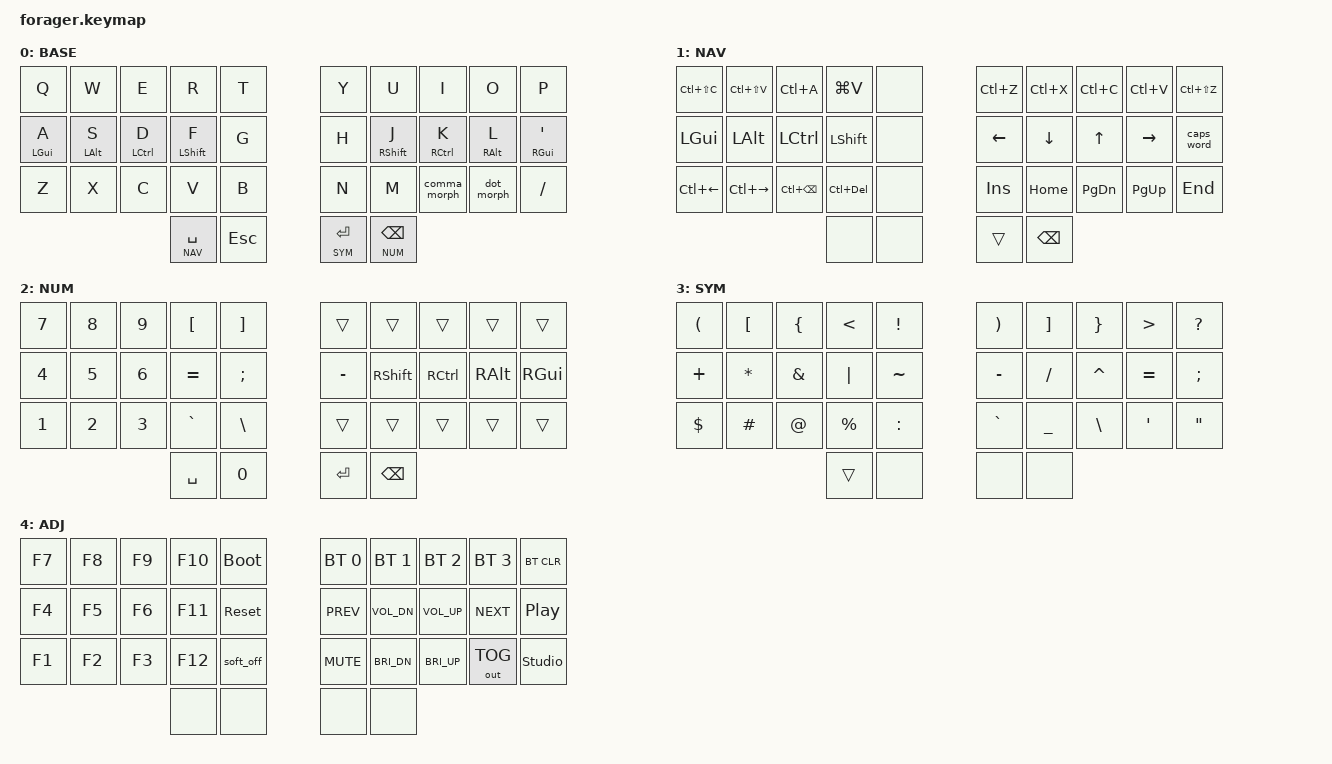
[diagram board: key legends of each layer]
/*
 * Copyright (c) 2020 The ZMK Contributors
 *
 * SPDX-License-Identifier: MIT
 */

//
//   Miryoku-style layout — QWERTY base, vim arrows (HJKL), GACS home row mods.
//   Adapted from the Corne (42-key) config to the Forager (34-key).
//   urob-inspired: timeless positional HRM, punctuation morphs, smart num.
//
//   Layer 0: BASE  — QWERTY + home row mods
//   Layer 1: NAV   — vim arrows, Ctrl clipboard, word nav, terminal clipboard, Super+V clipboard history  (hold left SPACE thumb)
//   Layer 2: NUM   — numpad on left hand, plain SCAG mods on right home row for Super+N workspaces    (hold right BSPC thumb; J+K latches)
//   Layer 3: SYM   — symmetric brackets & symbols     (hold right RET thumb)
//   Layer 4: ADJ   — F-keys (numpad shape), BT row, vim-style media, system keys on inner column  (hold SPACE+RET together)
//
//   A rendered diagram of this keymap lives at keymap-drawer/forager.svg
//   (auto-generated by the "Draw keymap" workflow).

#include <behaviors.dtsi>
#include <dt-bindings/zmk/bt.h>
#include <dt-bindings/zmk/keys.h>
#include <dt-bindings/zmk/outputs.h>

#define BASE 0
#define NAV  1
#define NUM  2
#define SYM  3
#define ADJ  4

// Forager key positions (34 keys):
// Row 0:  0  1  2  3  4     5  6  7  8  9
// Row 1: 10 11 12 13 14    15 16 17 18 19
// Row 2: 20 21 22 23 24    25 26 27 28 29
// Thumb:        30 31      32 33
#define KEYS_L 0 1 2 3 4 10 11 12 13 14 20 21 22 23 24
#define KEYS_R 5 6 7 8 9 15 16 17 18 19 25 26 27 28 29
#define THUMBS 30 31 32 33

&lt {
    flavor = "balanced";
    tapping-term-ms = <200>;
    quick-tap-ms = <175>;
};

// Manual power-off (the Forager has no power switch): must be held 2s to
// fire, on top of the two-handed ADJ chord. Wake each half with a keypress.
&soft_off {
    hold-time-ms = <2000>;
};

/ {
    conditional_layers {
        compatible = "zmk,conditional-layers";

        // ADJ holds BT/bootloader/reset — two-handed chord only, so a
        // single-thumb misfire can never land on it.
        adj_tri_layer {
            if-layers = <NAV SYM>;
            then-layer = <ADJ>;
        };
    };

    behaviors {
        // -- Timeless positional home row mods (urob-style) --
        // balanced + require-prior-idle + cross-hand-only trigger positions.

        hml: home_row_mod_left {
            compatible = "zmk,behavior-hold-tap";
            #binding-cells = <2>;
            flavor = "balanced";
            tapping-term-ms = <280>;
            quick-tap-ms = <175>;
            require-prior-idle-ms = <150>;
            bindings = <&kp>, <&kp>;
            hold-trigger-key-positions = <KEYS_R THUMBS>;
            hold-trigger-on-release;
        };

        hmr: home_row_mod_right {
            compatible = "zmk,behavior-hold-tap";
            #binding-cells = <2>;
            flavor = "balanced";
            tapping-term-ms = <280>;
            quick-tap-ms = <175>;
            require-prior-idle-ms = <150>;
            bindings = <&kp>, <&kp>;
            hold-trigger-key-positions = <KEYS_L THUMBS>;
            hold-trigger-on-release;
        };

        // -- Punctuation mod-morphs (urob-style) --
        // ,  -> shift: ;   ctrl+shift: <
        // .  -> shift: :   ctrl+shift: >

        comma_morph: comma_morph {
            compatible = "zmk,behavior-mod-morph";
            #binding-cells = <0>;
            bindings = <&kp COMMA>, <&comma_inner_morph>;
            mods = <(MOD_LSFT|MOD_RSFT)>;
        };

        comma_inner_morph: comma_inner_morph {
            compatible = "zmk,behavior-mod-morph";
            #binding-cells = <0>;
            bindings = <&kp SEMICOLON>, <&kp LESS_THAN>;
            mods = <(MOD_LCTL|MOD_RCTL)>;
        };

        dot_morph: dot_morph {
            compatible = "zmk,behavior-mod-morph";
            #binding-cells = <0>;
            bindings = <&kp DOT>, <&dot_inner_morph>;
            mods = <(MOD_LSFT|MOD_RSFT)>;
        };

        dot_inner_morph: dot_inner_morph {
            compatible = "zmk,behavior-mod-morph";
            #binding-cells = <0>;
            bindings = <&kp COLON>, <&kp GREATER_THAN>;
            mods = <(MOD_LCTL|MOD_RCTL)>;
        };

        // -- Num-word (urob-style, needs zmk-auto-layer module) --
        // Latches the NUM layer until a non-number key is pressed.
        // Triggered by the J+K combo so the R-outer thumb keeps an
        // instant, hold-to-repeat Backspace (&lt NUM BSPC).

        num_word: num_word {
            compatible = "zmk,behavior-auto-layer";
            #binding-cells = <1>;
            continue-list = <N0 N1 N2 N3 N4 N5 N6 N7 N8 N9 DOT COMMA MINUS PLUS ASTERISK SLASH EQUAL BSPC DEL>;
            ignore-modifiers;
        };

    };

    combos {
        compatible = "zmk,combos";

        // -- From old Forager config --

        combo_esc {
            bindings = <&kp ESC>;
            key-positions = <0 1>;          // Q + W
            layers = <BASE>;
            timeout-ms = <30>;
            require-prior-idle-ms = <150>;
        };

        // -- Tier 1: Essential (from Corne) --

        combo_caps_word {
            bindings = <&caps_word>;
            key-positions = <13 16>;        // F + J (index home row)
            layers = <BASE>;
            timeout-ms = <30>;
            require-prior-idle-ms = <150>;
        };

        combo_bspc {
            bindings = <&kp BSPC>;
            key-positions = <7 8>;          // I + O
            layers = <BASE>;
            timeout-ms = <30>;
            require-prior-idle-ms = <150>;
        };

        combo_del {
            bindings = <&kp DEL>;
            key-positions = <8 9>;          // O + P
            layers = <BASE>;
            timeout-ms = <30>;
            require-prior-idle-ms = <150>;
        };

        // -- Tier 2: High Value (from Corne) --

        combo_tab {
            bindings = <&kp TAB>;
            key-positions = <11 12>;        // S + D
            layers = <BASE>;
            timeout-ms = <30>;
            require-prior-idle-ms = <150>;
        };

        combo_enter {
            bindings = <&kp RET>;
            key-positions = <17 18>;        // K + L
            layers = <BASE>;
            timeout-ms = <30>;
            require-prior-idle-ms = <150>;
        };

        combo_num_word {
            bindings = <&num_word NUM>;
            key-positions = <16 17>;        // J + K (latch NUM until non-number)
            layers = <BASE>;
            timeout-ms = <30>;
            require-prior-idle-ms = <150>;
        };

        // Clipboard combos use Ctrl (Linux/Windows). Terminal copy/paste
        // lives on NAV only so ZXCV is not overcrowded with overlapping chords.
        combo_copy {
            bindings = <&kp LC(C)>;
            key-positions = <21 22>;        // X + C
            layers = <BASE>;
            timeout-ms = <50>;
            require-prior-idle-ms = <150>;
        };

        combo_paste {
            bindings = <&kp LC(V)>;
            key-positions = <22 23>;        // C + V
            layers = <BASE>;
            timeout-ms = <50>;
            require-prior-idle-ms = <150>;
        };

        combo_cut {
            bindings = <&kp LC(X)>;
            key-positions = <21 23>;        // X + V (skip middle)
            layers = <BASE>;
            timeout-ms = <50>;
            require-prior-idle-ms = <150>;
        };

        // -- Tier 3: Vertical Symbol Combos (from Corne) --

        combo_minus {
            bindings = <&kp MINUS>;
            key-positions = <16 26>;        // J + M (right index vertical)
            layers = <BASE>;
            timeout-ms = <40>;
            require-prior-idle-ms = <100>;
        };

        combo_underscore {
            bindings = <&kp UNDER>;
            key-positions = <15 25>;        // H + N (right inner vertical)
            layers = <BASE>;
            timeout-ms = <40>;
            require-prior-idle-ms = <100>;
        };

        combo_equal {
            bindings = <&kp EQUAL>;
            key-positions = <13 23>;        // F + V (left index vertical)
            layers = <BASE>;
            timeout-ms = <40>;
            require-prior-idle-ms = <100>;
        };

        combo_grave {
            bindings = <&kp GRAVE>;
            key-positions = <11 21>;        // S + X (left ring vertical)
            layers = <BASE>;
            timeout-ms = <40>;
            require-prior-idle-ms = <100>;
        };

        // -- Tier 4: Desktop Productivity --

        combo_alt_tab {
            bindings = <&kp LA(TAB)>;
            key-positions = <1 2>;          // W + E
            layers = <BASE>;
            timeout-ms = <30>;
            require-prior-idle-ms = <150>;
        };

        combo_sft_tab {
            bindings = <&kp LS(TAB)>;
            key-positions = <6 7>;          // U + I
            layers = <BASE>;
            timeout-ms = <30>;
            require-prior-idle-ms = <150>;
        };

        combo_comma_enter {
            bindings = <&kp RET>;
            key-positions = <26 27>;        // M + ,
            layers = <BASE>;
            timeout-ms = <30>;
            require-prior-idle-ms = <150>;
        };

        combo_dot_tab {
            bindings = <&kp TAB>;
            key-positions = <27 28>;        // , + .
            layers = <BASE>;
            timeout-ms = <30>;
            require-prior-idle-ms = <150>;
        };

        // -- B+N Screenshot (Hyprland binds Print to a full grim capture) --
        combo_screenshot {
            bindings = <&kp PSCRN>;
            key-positions = <24 25>;        // B + N
            layers = <BASE>;
            timeout-ms = <30>;
            require-prior-idle-ms = <150>;
        };
    };

    keymap {
        compatible = "zmk,keymap";

        base_layer {
            display-name = "BASE";
            bindings = <
&kp Q        &kp W        &kp E         &kp R          &kp T          &kp Y        &kp U         &kp I         &kp O        &kp P
&hml LGUI A  &hml LALT S  &hml LCTRL D  &hml LSHFT F   &kp G          &kp H        &hmr RSHFT J  &hmr RCTRL K  &hmr RALT L  &hmr RGUI SQT
&kp Z        &kp X        &kp C         &kp V          &kp B          &kp N        &kp M         &comma_morph  &dot_morph   &kp FSLH
                                        &lt NAV SPACE  &kp ESC       &lt SYM RET  &lt NUM BSPC
            >;
        };

        nav_layer {
            display-name = "NAV";
            bindings = <
&kp LC(LS(C)) &kp LC(LS(V)) &kp LC(A)    &kp LG(V)      &none         &kp LC(Z)    &kp LC(X)     &kp LC(C)     &kp LC(V)   &kp LC(LS(Z))
&kp LGUI      &kp LALT      &kp LCTRL    &kp LSHFT      &none          &kp LEFT     &kp DOWN      &kp UP        &kp RIGHT   &caps_word
&kp LC(LEFT)  &kp LC(RIGHT) &kp LC(BSPC) &kp LC(DEL)    &none          &kp INS      &kp HOME      &kp PG_DN     &kp PG_UP   &kp END
                                      &none          &none          &trans        &kp BSPC
            >;
        };

        num_layer {
            display-name = "NUM";
            bindings = <
&kp N7      &kp N8      &kp N9        &kp LBKT       &kp RBKT       &trans       &trans        &trans       &trans      &trans
&kp N4      &kp N5      &kp N6        &kp EQUAL      &kp SEMI       &kp MINUS    &kp RSHFT     &kp RCTRL    &kp RALT    &kp RGUI
&kp N1      &kp N2      &kp N3        &kp GRAVE      &kp BSLH       &trans       &trans        &trans       &trans      &trans
                                      &kp SPACE      &kp N0         &kp RET      &kp BSPC
            >;
        };

        sym_layer {
            display-name = "SYM";
            bindings = <
&kp LPAR    &kp LBKT    &kp LBRC      &kp LESS_THAN  &kp EXCL       &kp RPAR     &kp RBKT      &kp RBRC      &kp GREATER_THAN &kp QUESTION
&kp PLUS    &kp ASTRK   &kp AMPS      &kp PIPE       &kp TILDE      &kp MINUS    &kp FSLH      &kp CARET     &kp EQUAL        &kp SEMICOLON
&kp DLLR    &kp HASH    &kp AT        &kp PRCNT      &kp COLON      &kp GRAVE    &kp UNDER     &kp BSLH      &kp APOS         &kp DQT
                                      &trans         &none          &none        &none
            >;
        };

        adj_layer {
            display-name = "ADJ";
            bindings = <
&kp F7        &kp F8        &kp F9         &kp F10        &bootloader    &bt BT_SEL 0 &bt BT_SEL 1  &bt BT_SEL 2  &bt BT_SEL 3 &bt BT_CLR
&kp F4        &kp F5        &kp F6         &kp F11        &sys_reset     &kp C_PREV   &kp C_VOL_DN  &kp C_VOL_UP  &kp C_NEXT   &kp C_PP
&kp F1        &kp F2        &kp F3         &kp F12        &soft_off      &kp C_MUTE   &kp C_BRI_DN  &kp C_BRI_UP  &out OUT_TOG &studio_unlock
                                      &none          &none          &none        &none
            >;
        };
    };
};
